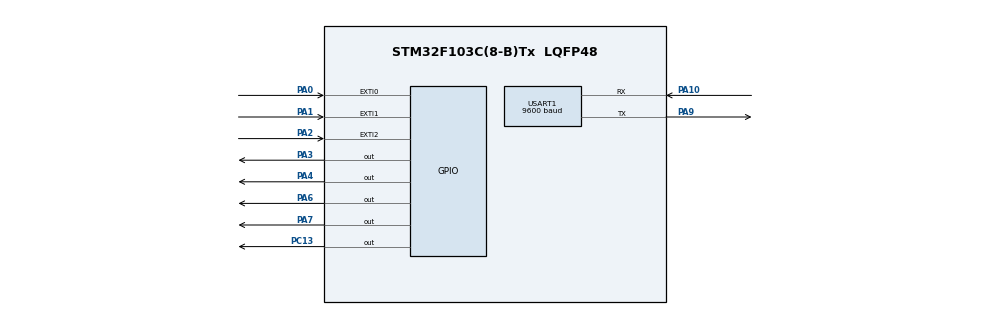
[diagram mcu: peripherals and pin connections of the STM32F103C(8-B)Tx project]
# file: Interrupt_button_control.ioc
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Mcu.Family=STM32F1
Mcu.Name=STM32F103C(8-B)Tx
Mcu.Package=LQFP48
NVIC.EXTI0_IRQn=true\:0\:0\:false\:false\:true\:true\:true\:true
NVIC.EXTI1_IRQn=true\:0\:0\:false\:false\:true\:true\:true\:true
NVIC.EXTI2_IRQn=true\:0\:0\:false\:false\:true\:true\:true\:true
NVIC.PriorityGroup=NVIC_PRIORITYGROUP_4
NVIC.TIM2_IRQn=true\:0\:0\:false\:false\:true\:true\:true\:true
NVIC.USART1_IRQn=true\:0\:0\:false\:false\:true\:true\:true\:true
PA0-WKUP.GPIO_ModeDefaultEXTI=GPIO_MODE_IT_FALLING
PA0-WKUP.GPIO_PuPd=GPIO_PULLUP
PA0-WKUP.Signal=GPXTI0
PA1.GPIO_ModeDefaultEXTI=GPIO_MODE_IT_FALLING
PA1.GPIO_PuPd=GPIO_PULLUP
PA1.Signal=GPXTI1
PA10.Mode=Asynchronous
PA10.Signal=USART1_RX
PA13.Mode=Serial_Wire
PA13.Signal=SYS_JTMS-SWDIO
PA14.Mode=Serial_Wire
PA14.Signal=SYS_JTCK-SWCLK
PA2.GPIO_ModeDefaultEXTI=GPIO_MODE_IT_FALLING
PA2.GPIO_PuPd=GPIO_PULLUP
PA2.Signal=GPXTI2
PA3.Signal=GPIO_Output
PA4.Signal=GPIO_Output
PA6.Signal=GPIO_Output
PA7.Signal=GPIO_Output
PA9.Mode=Asynchronous
PA9.Signal=USART1_TX
PC13-TAMPER-RTC.GPIO_PuPd=GPIO_NOPULL
PC13-TAMPER-RTC.Signal=GPIO_Output
ProjectManager.HeapSize=0x200
ProjectManager.StackSize=0x400
ProjectManager.TargetToolchain=STM32CubeIDE
RCC.APB1Freq_Value=8000000
RCC.APB2Freq_Value=8000000
TIM2.Period=1
TIM2.Prescaler=8000
USART1.BaudRate=9600
USART1.VirtualMode=VM_ASYNC
VP_TIM2_VS_ClockSourceINT.Mode=Internal
board=custom

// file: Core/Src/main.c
/* USER CODE BEGIN Header */
/**
  ******************************************************************************
  * @file           : main.c
  * @brief          : Main program body
  ******************************************************************************
  * @attention
  *
  * Copyright (c) 2025 STMicroelectronics.
  * All rights reserved.
  *
  * This software is licensed under terms that can be found in the LICENSE file
  * in the root directory of this software component.
  * If no LICENSE file comes with this software, it is provided AS-IS.
  *
  ******************************************************************************
  */
/* USER CODE END Header */
#include "main.h"

/* USER CODE BEGIN Includes */
#include<stdio.h>
#include<string.h>
/* USER CODE END Includes */

/* USER CODE BEGIN PD */

#define COL		GPIOA
#define COL1	GPIO_PIN_3
#define COL2	GPIO_PIN_4
#define COL3	GPIO_PIN_6
#define COL4	GPIO_PIN_7
#define ROW		GPIOA
#define ROW1	GPIO_PIN_0
#define ROW2	GPIO_PIN_1
#define ROW3	GPIO_PIN_2

int a[3][4]={
		{'1','2','3','4'},
		{'5','6','7','8'},
		{'9','#','0','*'},
};
char scan_keypad();
volatile uint8_t g_row_flag =0;
volatile uint8_t data_received_flag=0;

char key='\0';
char last_key ='\0';
char button_input[16]= {}; //chuoi nhap phim tu ban phim
volatile uint8_t button_count = 0;
volatile uint8_t rx_count = 0;
volatile uint16_t count_time_send_func16 =0;
//volatile uint16_t count_time_send_func03 =0;

volatile uint16_t count_time_received =0;
volatile uint8_t count_time_send_flag =0;
volatile uint8_t count_time_received_flag =0;
// khai bao cho Func03
volatile uint8_t read_request_flag =0;
volatile uint16_t count_time_read =0;

uint8_t tx_buffer[256];
uint8_t rx_buffer[256];

//volatile=0
uint16_t last_read_value[10]={0};// luu gia tri lan doc truoc
uint8_t pc_slaveID = 0x01;		// Slave ID cua PC (theo cau hinh tool modbus slave)
//uint16_t reg_address = 0x0001;  // Dia chi thanh ghi se doc
//uint8_t reg_quantity = 0x01;    // So luong thanh ghi can doc
uint16_t reg_address = 0x0000;
uint8_t reg_quantity =10;

/* USER CODE END PD */

TIM_HandleTypeDef htim2;

UART_HandleTypeDef huart1;

/* USER CODE BEGIN PV */

uint16_t Modbus_CRC16(uint8_t *buffer, uint16_t length_data) { // length
    uint16_t crc = 0xFFFF;
    for (uint16_t i = 0; i < length_data; i++) {
        crc ^= buffer[i];  // XOR voi du lieu dau vao: crc = crc^buffer[i];
        for (uint8_t j = 0; j < 8; j++) {

            if (crc & 0x0001) {
            	crc >>= 1;
            	crc = crc ^ 0xA001;
            } else {
                crc >>= 1;
            }
        }
    }
    return crc;
}

//MODBUS_NHAN_1_PHIM
//void Send_Modbus(_Func16)(UART_HandleTypeDef *huart, uint8_t slaveID
//		, uint16_t address, uint8_t data, uint8_t length_data) {
////    uint8_t tx_buffer[256];
////    if(length_data > 250) return;
//	uint8_t tx_buffer[8]={0};
//    tx_buffer[0] = slaveID;                 // dia chi Slave
//    tx_buffer[1] = 0x06;                     // Function Code: Read Holding Register
//    tx_buffer[2] = (address >> 8) & 0xFF;    // address High
//    tx_buffer[3] = address & 0xFF;           // address Low
//    tx_buffer[4] = (data >> 8) & 0xFF;   // write Data Hi
//    tx_buffer[5] = data & 0xFF;          //write Data Lo
//
//    uint16_t crc = Modbus_CRC16(tx_buffer, 6 );
//    tx_buffer[6 ] = crc & 0xFF;      // CRC Low byte
//    tx_buffer[7 ] = (crc >> 8) & 0xFF; // CRC High byte
//
//    HAL_UART_Transmit(huart, tx_buffer, sizeof(tx_buffer), 100);
//}

////MODBUS_NHAP_NHIEU_PHIM (FUNCTION 16_Write Multiple Registers)
void Send_Modbus_Func16(UART_HandleTypeDef *huart, uint8_t slaveID,
		uint16_t address,uint16_t quantity,uint16_t byte_count
		,uint8_t * data, uint8_t length_data) {

    tx_buffer[0] = slaveID;                 // dia chi Slave
    tx_buffer[1] = 0x10;                     // Function Code: Read Holding Register
    tx_buffer[2] = (address >> 8) & 0xFF;    // address High
    tx_buffer[3] = address & 0xFF;           // address Low
    tx_buffer[4] = (quantity >> 8) & 0xFF;   // quantity Hi
    tx_buffer[5] = quantity & 0xFF;          //quantity Lo
//    tx_buffer[6] = byte_count & 0xFF; //byte_count
    tx_buffer[6] = (quantity *2) & 0xFF; //byte_count

    for (int i = 0; i < quantity; i++) {
        tx_buffer[7 + (i*2)] = (data[i] >> 8) & 0xFF; // High byte
        tx_buffer[8 + (i*2)] = (data[i]) & 0xFF;        // Low byte
    }
    uint16_t crc = Modbus_CRC16(tx_buffer, 7 + (quantity*2)); // 7 + length_data / sizeof(data)????
    tx_buffer[7 + (quantity*2)] = crc & 0xFF;      // CRC Low byte
    tx_buffer[8 + (quantity*2)] = (crc >> 8) & 0xFF; // CRC High byte

    HAL_UART_Transmit(huart, tx_buffer, /*sizeof(tx_buffer)*/ 9 + (quantity * 2), 100);
}
void Send_Modbus_Func03(UART_HandleTypeDef *huart, uint8_t slaveID,
			uint16_t address, uint8_t quantity/*, uint8_t length_data*/){
	tx_buffer[0] = slaveID;
	tx_buffer[1]= 0x03; // function code 03
	tx_buffer[2]= (address >> 8) &0xFF;
	tx_buffer[3]=address & 0xFF; // dia chi bat dau doc
	tx_buffer[4]= (quantity >> 8) & 0xFF;
	tx_buffer[5]= quantity & 0xFF;

	uint16_t crc = Modbus_CRC16(tx_buffer, 6 );
	tx_buffer[6 ] = crc & 0xFF;      // CRC Low byte
	tx_buffer[7 ] = (crc >> 8) & 0xFF; // CRC High byte

//	HAL_UART_Transmit(huart, tx_buffer, sizeof(tx_buffer), 100);
	HAL_UART_Transmit (huart, tx_buffer, 8, 100);
}

void Received_Modbus (){

//	HAL_UART_Receive_IT(huart, rx_buffer,8); // nhan o cho khac -> duwjng cowf -> nhay vao received_modbus
	// tach frane -> so sanh -> neu giong thi done => DONE

	uint16_t received_crc = (rx_buffer[8 - 1] << 8) | rx_buffer[8 - 2];
	uint16_t calculated_crc = Modbus_CRC16(rx_buffer, 8 - 2);
	//FUNC_16
	if(rx_buffer[1]== 0x10){
		if (rx_buffer[0] == tx_buffer[0] && rx_buffer[1] == tx_buffer[1]) {
			if(rx_buffer [2] == tx_buffer[2] && rx_buffer[3] == tx_buffer[3]){
				if (received_crc == calculated_crc){
					HAL_GPIO_WritePin(GPIOC, GPIO_PIN_13, GPIO_PIN_RESET);
					HAL_Delay(500);
					HAL_GPIO_WritePin(GPIOC, GPIO_PIN_13, GPIO_PIN_SET);
					printf ("Du lieu hop le: ");
					for (int i=0; i<8; i++){
						printf("%02X ", rx_buffer[i]);
					}
				}
				else{
					printf("Loi CRC!");
				}
			}
			else{
				printf("Sai Address hoac Quantity!");
			}
		}
		else{
			printf("Sai Slave ID hoac Function Code!");
		}
		memset(button_input, 0, sizeof(button_input));
	}

	// FUNC_03
	if(rx_buffer[1] == 0x03){
		uint8_t byte_count = rx_buffer[2];
		uint16_t response_length = 3 + byte_count +2;
		uint16_t received_crc = (rx_buffer[response_length - 1] << 8) | rx_buffer[response_length - 2];
		uint16_t calculated_crc = Modbus_CRC16(rx_buffer, response_length -2);

		if(received_crc == calculated_crc) {
			uint16_t read_data[10];
			for (int i = 0; i < 10; i++) {
				read_data[i] = (rx_buffer[3 + (i * 2)] << 8) | rx_buffer[4 + (i * 2)];
			}

// 1 THANH GHI THAY DOI GIA TRI => LED BLINK
//				uint16_t read_data = (rx_buffer[3] << 8) | rx_buffer[4];
				// So sanh voi gia tri lan doc truoc
//				if(read_data != last_read_value) {
////					last_read_value = read_data;
//					printf("Func03: Gia tri thanh ghi thay doi: 0x%04X\r\n", read_data);
//					for(int i=0; i<3; i++){
//						HAL_GPIO_WritePin(GPIOC, GPIO_PIN_13, GPIO_PIN_RESET);
//						HAL_Delay(100);
//						HAL_GPIO_WritePin(GPIOC, GPIO_PIN_13, GPIO_PIN_SET);
//						HAL_Delay(100);
//					}
//				}

// 10 THANH GHI, BAT KY THANH GHI NAO THAY DOI GIA TRI => LED BLINK
			if (memcmp(read_data, last_read_value, sizeof(read_data)) != 0){
				memcpy(last_read_value, read_data, sizeof(last_read_value));
				for(int i=0; i<3; i++){
					HAL_GPIO_WritePin(GPIOC, GPIO_PIN_13, GPIO_PIN_RESET);
					HAL_Delay(100);
					HAL_GPIO_WritePin(GPIOC, GPIO_PIN_13, GPIO_PIN_SET);
					HAL_Delay(100);
				}
			}
		}
		else {
			printf("Func03: Loi CRC!\r\n");
		}
	}
}

void HAL_GPIO_EXTI_Callback(uint16_t GPIO_Pin)
{
	if(GPIO_Pin == GPIO_PIN_0){
		g_row_flag=1;
		key = scan_keypad();
	}
	else if(GPIO_Pin == GPIO_PIN_1)
	{
		g_row_flag=2;
		key = scan_keypad();
	}
	else if (GPIO_Pin == GPIO_PIN_2)
	{
		g_row_flag=3;
		key = scan_keypad();
	}
}
char scan_keypad(void){
	key='\0';
	int selected_col=0;
	for (int col =0; col <4; col++){

		HAL_GPIO_WritePin(COL, COL1, GPIO_PIN_SET);
		HAL_GPIO_WritePin(COL, COL2, GPIO_PIN_SET);
		HAL_GPIO_WritePin(COL, COL3, GPIO_PIN_SET);
		HAL_GPIO_WritePin(COL, COL4, GPIO_PIN_SET);

		if(col == 0) HAL_GPIO_WritePin(COL, COL1, GPIO_PIN_RESET);
		if(col == 1) HAL_GPIO_WritePin(COL, COL2, GPIO_PIN_RESET);
		if(col == 2) HAL_GPIO_WritePin(COL, COL3, GPIO_PIN_RESET);
		if(col == 3) HAL_GPIO_WritePin(COL, COL4, GPIO_PIN_RESET);

		if ((HAL_GPIO_ReadPin(ROW, ROW1) == GPIO_PIN_RESET)){
			selected_col = col;
			key = a[0][selected_col];
		}
		else if((HAL_GPIO_ReadPin(ROW, ROW2) == GPIO_PIN_RESET)){
			selected_col = col;
			key = a[1][selected_col];
		}
		else if((HAL_GPIO_ReadPin(ROW, ROW3) == GPIO_PIN_RESET)){
			selected_col = col;
			key = a[2][selected_col];
		}
		if(key != '\0') break;
	}

	HAL_GPIO_WritePin(COL, COL1, 0);
	HAL_GPIO_WritePin(COL, COL2, 0);
	HAL_GPIO_WritePin(COL, COL3, 0);
	HAL_GPIO_WritePin(COL, COL4, 0);

	g_row_flag = 0;
	return key;
}
/* USER CODE END PV */

void SystemClock_Config(void);
static void MX_GPIO_Init(void);
static void MX_USART1_UART_Init(void);
static void MX_TIM2_Init(void);

/* USER CODE BEGIN 0 */
uint8_t rx_data=0;
void HAL_UART_RxCpltCallback(UART_HandleTypeDef *huart){
	if(huart->Instance == USART1){
		HAL_UART_Receive_IT(&huart1, &rx_data, 1);
		rx_buffer[rx_count++]= rx_data;
		count_time_received = 0;
	}
}
void HAL_TIM_PeriodElapsedCallback(TIM_HandleTypeDef *htim){
    if (htim->Instance == TIM2) {

    	count_time_send_func16++;
    	if(count_time_send_func16 > 1000){
    		count_time_send_flag =1;
    	}

    	count_time_received++;
    	if(count_time_received > 500 && rx_count>0){
    		count_time_received_flag =1;
    	}

    	count_time_read++;
    	if(count_time_read >= 2500){
    		read_request_flag = 1;
    		count_time_read =0;
//    		Send_Modbus_Func03();
    	}
	}
}
// HIEN THI PHIM (UART)
//void display_key(char key) {
//    HAL_UART_Transmit(&huart1, (uint8_t*)&key, 4, 100);
//    char newline = '\n';
//    HAL_UART_Transmit(&huart1, (uint8_t*)&newline, 1, 100);
//}

/* USER CODE END 0 */

int main(void)
{

  /* MCU Configuration--------------------------------------------------------*/

  /* Reset of all peripherals, Initializes the Flash interface and the Systick. */
  HAL_Init();

  /* Configure the system clock */
  SystemClock_Config();

  /* Initialize all configured peripherals */
  MX_GPIO_Init();
  MX_USART1_UART_Init();
  MX_TIM2_Init();
  /* USER CODE BEGIN 2 */

  HAL_UART_Receive_IT(&huart1,&rx_data, 1);
  HAL_TIM_Base_Start_IT(&htim2);

  /* USER CODE END 2 */

  /* Infinite loop */
  while (1)
  {

    /* USER CODE BEGIN 3 */
	  HAL_GPIO_WritePin(GPIOC, GPIO_PIN_13, GPIO_PIN_SET);
	  if(key != '\0' ){
		  button_input[button_count]= key;
		  button_count++;
		  count_time_send_func16 =0;
		  count_time_send_flag=0;
		  key ='\0';
		  }
	  if (count_time_send_flag && button_count >0){
		  Send_Modbus_Func16(&huart1, 0x11, 0x0001,button_count,button_count*2,(uint8_t *)button_input, sizeof(button_input));
		  count_time_send_flag = 0;

		  button_count =0;
		  }
	  if(count_time_received_flag ){
		  Received_Modbus();
		  rx_count = 0;
		  memset(rx_buffer, 0, sizeof(rx_buffer));
		  memset(tx_buffer, 0, sizeof(tx_buffer));
		  count_time_received_flag=0;
	  }
	  if(read_request_flag){
		  Send_Modbus_Func03(&huart1, 0x11, reg_address, reg_quantity);
		  read_request_flag =0;
	  }
  }
}
  /* USER CODE END 3 */

void SystemClock_Config(void)
{
  RCC_OscInitTypeDef RCC_OscInitStruct = {0};
  RCC_ClkInitTypeDef RCC_ClkInitStruct = {0};

  /** Initializes the RCC Oscillators according to the specified parameters
  * in the RCC_OscInitTypeDef structure.
  */
  RCC_OscInitStruct.OscillatorType = RCC_OSCILLATORTYPE_HSI;
  RCC_OscInitStruct.HSIState = RCC_HSI_ON;
  RCC_OscInitStruct.HSICalibrationValue = RCC_HSICALIBRATION_DEFAULT;
  RCC_OscInitStruct.PLL.PLLState = RCC_PLL_NONE;
  if (HAL_RCC_OscConfig(&RCC_OscInitStruct) != HAL_OK)
  {
    Error_Handler();
  }

  /** Initializes the CPU, AHB and APB buses clocks
  */
  RCC_ClkInitStruct.ClockType = RCC_CLOCKTYPE_HCLK|RCC_CLOCKTYPE_SYSCLK
                              |RCC_CLOCKTYPE_PCLK1|RCC_CLOCKTYPE_PCLK2;
  RCC_ClkInitStruct.SYSCLKSource = RCC_SYSCLKSOURCE_HSI;
  RCC_ClkInitStruct.AHBCLKDivider = RCC_SYSCLK_DIV1;
  RCC_ClkInitStruct.APB1CLKDivider = RCC_HCLK_DIV1;
  RCC_ClkInitStruct.APB2CLKDivider = RCC_HCLK_DIV1;

  if (HAL_RCC_ClockConfig(&RCC_ClkInitStruct, FLASH_LATENCY_0) != HAL_OK)
  {
    Error_Handler();
  }
}

static void MX_TIM2_Init(void)
{

  TIM_ClockConfigTypeDef sClockSourceConfig = {0};
  TIM_MasterConfigTypeDef sMasterConfig = {0};

  htim2.Instance = TIM2;
  htim2.Init.Prescaler = 8000;
  htim2.Init.CounterMode = TIM_COUNTERMODE_UP;
  htim2.Init.Period = 1;
  htim2.Init.ClockDivision = TIM_CLOCKDIVISION_DIV1;
  htim2.Init.AutoReloadPreload = TIM_AUTORELOAD_PRELOAD_DISABLE;
  if (HAL_TIM_Base_Init(&htim2) != HAL_OK)
  {
    Error_Handler();
  }
  sClockSourceConfig.ClockSource = TIM_CLOCKSOURCE_INTERNAL;
  if (HAL_TIM_ConfigClockSource(&htim2, &sClockSourceConfig) != HAL_OK)
  {
    Error_Handler();
  }
  sMasterConfig.MasterOutputTrigger = TIM_TRGO_RESET;
  sMasterConfig.MasterSlaveMode = TIM_MASTERSLAVEMODE_DISABLE;
  if (HAL_TIMEx_MasterConfigSynchronization(&htim2, &sMasterConfig) != HAL_OK)
  {
    Error_Handler();
  }

}

static void MX_USART1_UART_Init(void)
{

  huart1.Instance = USART1;
  huart1.Init.BaudRate = 9600;
  huart1.Init.WordLength = UART_WORDLENGTH_8B;
  huart1.Init.StopBits = UART_STOPBITS_1;
  huart1.Init.Parity = UART_PARITY_NONE;
  huart1.Init.Mode = UART_MODE_TX_RX;
  huart1.Init.HwFlowCtl = UART_HWCONTROL_NONE;
  huart1.Init.OverSampling = UART_OVERSAMPLING_16;
  if (HAL_UART_Init(&huart1) != HAL_OK)
  {
    Error_Handler();
  }

}

static void MX_GPIO_Init(void)
{
  GPIO_InitTypeDef GPIO_InitStruct = {0};

  /* GPIO Ports Clock Enable */
  __HAL_RCC_GPIOC_CLK_ENABLE();
  __HAL_RCC_GPIOA_CLK_ENABLE();

  /*Configure GPIO pin Output Level */
  HAL_GPIO_WritePin(GPIOC, GPIO_PIN_13, GPIO_PIN_RESET);

  /*Configure GPIO pin Output Level */
  HAL_GPIO_WritePin(GPIOA, GPIO_PIN_3|GPIO_PIN_4|GPIO_PIN_6|GPIO_PIN_7, GPIO_PIN_RESET);

  /*Configure GPIO pin : PC13 */
  GPIO_InitStruct.Pin = GPIO_PIN_13;
  GPIO_InitStruct.Mode = GPIO_MODE_OUTPUT_PP;
  GPIO_InitStruct.Pull = GPIO_NOPULL;
  GPIO_InitStruct.Speed = GPIO_SPEED_FREQ_LOW;
  HAL_GPIO_Init(GPIOC, &GPIO_InitStruct);

  /*Configure GPIO pins : PA0 PA1 PA2 */
  GPIO_InitStruct.Pin = GPIO_PIN_0|GPIO_PIN_1|GPIO_PIN_2;
  GPIO_InitStruct.Mode = GPIO_MODE_IT_FALLING;
  GPIO_InitStruct.Pull = GPIO_PULLUP;
  HAL_GPIO_Init(GPIOA, &GPIO_InitStruct);

  /*Configure GPIO pins : PA3 PA4 PA6 PA7 */
  GPIO_InitStruct.Pin = GPIO_PIN_3|GPIO_PIN_4|GPIO_PIN_6|GPIO_PIN_7;
  GPIO_InitStruct.Mode = GPIO_MODE_OUTPUT_PP;
  GPIO_InitStruct.Pull = GPIO_NOPULL;
  GPIO_InitStruct.Speed = GPIO_SPEED_FREQ_LOW;
  HAL_GPIO_Init(GPIOA, &GPIO_InitStruct);

  /* EXTI interrupt init*/
  HAL_NVIC_SetPriority(EXTI0_IRQn, 0, 0);
  HAL_NVIC_EnableIRQ(EXTI0_IRQn);

  HAL_NVIC_SetPriority(EXTI1_IRQn, 0, 0);
  HAL_NVIC_EnableIRQ(EXTI1_IRQn);

  HAL_NVIC_SetPriority(EXTI2_IRQn, 0, 0);
  HAL_NVIC_EnableIRQ(EXTI2_IRQn);

}

void Error_Handler(void)
{
  __disable_irq();
  while (1)
  {
  }
}
